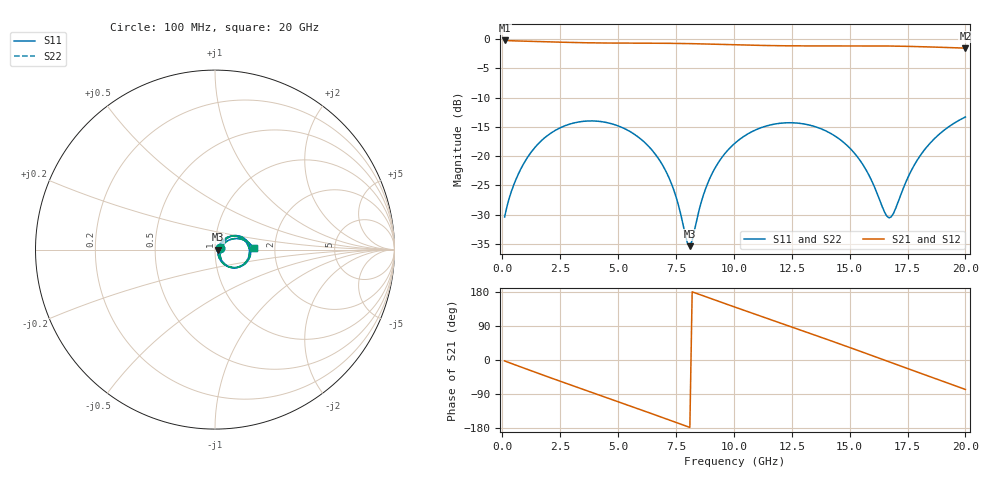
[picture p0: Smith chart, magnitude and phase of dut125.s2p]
! Touchstone file exported from HFSS 2026.1.0
!  File:  C:/ffzhzh/LocalFiles/Ansys_Project_Files/temp_train_TSV_RDL_125_1783048349_18316.aedt
!  Generated:  11:23:57 AM Jul  3, 2026
!  Design:  TSV_RDL
!  Project:  temp_train_TSV_RDL_125_1783048349_18316
! Variables:
!  h_bsmrdl = 5.74um
!  h_ox = 20um
!  h_rdl = 5um
!  h_sub = 54.31um
!  h_tmrdl = 4.82um
!  h_tsv = 54.31um
!  h_via = 3um
!  l_bsmrdl = 984.21um
!  l_sub = 7238.49um
!  l_tmrdl = 946.04um
!  m_sub = 200um
!  pitch = 27.84um
!  r_tsv = 12.9um
!  s_tmrdl = 10um
!  w_bsmrdl = 14um
!  w_sub = 500um
!  w_tmrdl = 19.9um
!  x_tsv_center1 = 955.99um
!  x_tsv_center2 = 1954.2um
!  x_tsv_center3 = 2920.14um
!  x_tsv_center4 = 3918.35um
!  x_tsv_center5 = 4884.29um
!  x_tsv_center6 = 5882.5um
# GHz S MA R 50.000000
! Terminal data exported
! Port[1] = TM_RDL1_1_T1
! Port[2] = TM_RDL5_1_T1
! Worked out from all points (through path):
!   200 points, 100 MHz to 20 GHz, reference 50 ohm
!   highest |S21| = -0.25 dB at 100 MHz (marker M1); lowest = -1.6 dB at 20 GHz (marker M2)
!   group delay of S21, straight-line fit = 60.5 ps
!   lowest |S11| = -35.4 dB at 8.1 GHz (marker M3), VSWR 1.03, Z = 51.7 - j0.058 ohm
!   |S11| at or under -10 dB: start of sweep to end of sweep
!   |S22| runs from -35.3 to -13.3 dB; largest |S21 - S12| = 1.6e-14
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0.1  0.03029 20.1  0.972 -2.5  0.972 -2.5  0.03029 20.1
! Gamma 0 0 0 0
! Port Impedance 50 0 50 0
0.6  0.06402 43.1  0.9634 -13.9  0.9634 -13.9  0.06401 43.1
1.4  0.1181 39.4  0.9542 -31.8  0.9542 -31.8  0.1181 39.4
2.5  0.1746 20.8  0.94 -56.0  0.94 -56.0  0.1746 20.9
3.5  0.1984 1.5  0.9297 -77.7  0.9297 -77.7  0.1983 1.6
5.1  0.1783 -29.7  0.9227 -112.1  0.9227 -112.1  0.1782 -29.6
6  0.1391 -46.5  0.9218 -131.7  0.9218 -131.7  0.1391 -46.4
6.8  0.09179 -59.3  0.9203 -149.3  0.9203 -149.3  0.09176 -59.2
7.4  0.05191 -63.3  0.9179 -162.5  0.9179 -162.5  0.05191 -63.1
8  0.01794 -23.6  0.9141 -175.7  0.9141 -175.7  0.01806 -23.2
8.1  0.01706 -1.9  0.9133 -177.9  0.9133 -177.9  0.0172 -1.7
8.9  0.06063 50.3  0.9058 164.5  0.9058 164.5  0.06069 50.3
9.4  0.09247 45.8  0.9003 153.6  0.9003 153.6  0.09251 45.8
10.1  0.1319 34.9  0.8924 138.4  0.8924 138.4  0.1319 35.0
11.8  0.1886 4.0  0.8773 102.0  0.8773 102.0  0.1886 4.1
13.4  0.1814 -25.6  0.8731 67.8  0.8731 67.8  0.1814 -25.4
15.2  0.1065 -54.7  0.8748 28.7  0.8748 28.7  0.1067 -54.2
15.8  0.07095 -58.4  0.8745 15.4  0.8745 15.4  0.07123 -57.7
16.7  0.02975 -13.8  0.8714 -4.6  0.8714 -4.6  0.03042 -13.7
18.2  0.1111 31.9  0.8586 -38.0  0.8586 -38.0  0.1112 31.8
19.1  0.1678 18.8  0.8477 -57.9  0.8477 -57.9  0.1677 18.8
20  0.216 2.7  0.836 -77.7  0.836 -77.7  0.2158 2.9
